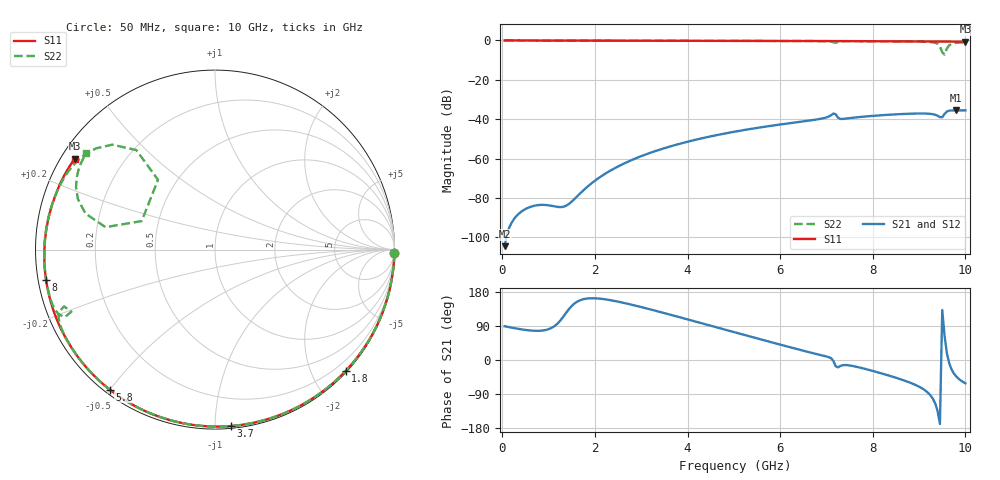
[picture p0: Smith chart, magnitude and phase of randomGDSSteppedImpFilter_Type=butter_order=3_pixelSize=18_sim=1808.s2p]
! freq	dB(S11)	phase(S11)	dB(S12)	phase(S12)
!  dB(S21)	phase(S21)	dB(S22)	phase(S22)
!S-par simulation data
#  GHz  S  DB  R 50
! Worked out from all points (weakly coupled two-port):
!   200 points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, 50 MHz to 10 GHz, reference 50 ohm
!   highest |S21| = -35.52 dB at 9.8 GHz (marker M1); lowest = -104.5 dB at 50 MHz (marker M2)
!   lowest |S11| = -0.6 dB at 10 GHz (marker M3), VSWR 28.31, Z = 1.92 + j14.7 ohm
!   |S11| at or under -10 dB: nowhere
!   |S22| runs from -7.2 to 0.0 dB; largest |S21 - S12| = 0
!   S11 on the Smith chart (normalised r, x): 50 MHz: 0, -93; 1.8 GHz: 0.02, -2.54; 3.7 GHz: 0.01, -1.09; 5.8 GHz: 0.02, -0.50; 8 GHz: 0.02, -0.09; 10 GHz: 0.04, +0.29
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0.05  -0.00 -1.2  -104.48 89.1  -104.48 89.1  -0.00 -1.2
1.55  -0.05 -37.1  -80.72 148.2  -80.72 148.2  -0.05 -37.1
1.75  -0.05 -41.8  -76.14 160.4  -76.14 160.4  -0.05 -41.7
1.8  -0.05 -42.9  -75.07 161.7  -75.07 161.7  -0.05 -42.9
2.45  -0.07 -57.7  -64.61 155.2  -64.61 155.2  -0.07 -57.8
3.4  -0.10 -78.5  -55.46 127.0  -55.46 127.0  -0.10 -78.8
3.7  -0.11 -84.9  -53.33 117.2  -53.33 117.2  -0.11 -85.2
5.05  -0.17 -112.3  -46.19 72.1  -46.19 72.1  -0.17 -113.5
5.8  -0.21 -127.0  -43.35 47.2  -43.35 47.2  -0.22 -128.9
6.7  -0.27 -144.4  -40.46 18.2  -40.46 18.2  -0.30 -147.8
7.15  -0.31 -153.1  -37.11 -2.6  -37.11 -2.6  -0.93 -159.4
7.3  -0.32 -156.0  -39.86 -15.7  -39.86 -15.7  -0.52 -157.4
8  -0.39 -169.8  -38.31 -28.9  -38.31 -28.9  -0.41 -175.1
8.35  -0.43 -176.9  -37.73 -41.1  -37.73 -41.1  -0.45 176.3
9.2  -0.52 165.2  -37.19 -87.3  -37.19 -87.3  -0.72 149.6
9.4  -0.55 160.9  -38.23 -134.7  -38.23 -134.7  -1.74 134.4
9.5  -0.56 158.7  -38.98 131.9  -38.98 131.9  -5.98 129.2
9.55  -0.56 157.5  -37.33 64.2  -37.33 64.2  -7.17 158.7
9.6  -0.56 156.4  -36.09 18.3  -36.09 18.3  -4.11 168.4
9.7  -0.57 154.1  -35.55 -24.4  -35.55 -24.4  -1.79 159.8
9.8  -0.59 151.8  -35.52 -43.0  -35.52 -43.0  -1.23 152.7
10  -0.61 147.1  -35.52 -61.5  -35.52 -61.5  -0.95 143.1
